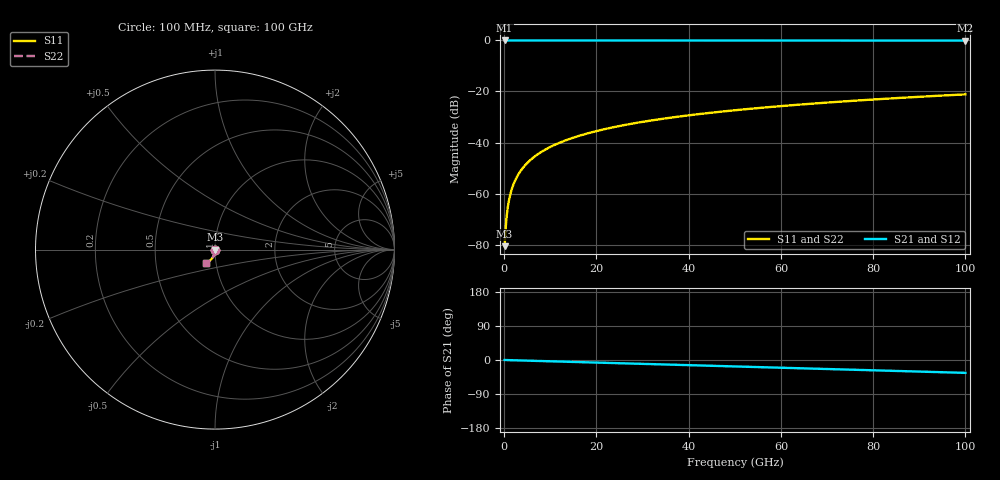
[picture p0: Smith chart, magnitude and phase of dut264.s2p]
! Touchstone file exported from HFSS 2026.1.0
!  File:  C:/ffzhzh/LocalFiles/Ansys_Project_Files/temp_train_TSV_264_1783508551_31944.aedt
!  Generated:  07:03:43 PM Jul  8, 2026
!  Design:  TSV
!  Project:  temp_train_TSV_264_1783508551_31944
! Variables:
!  h_bsmrdl = 2um
!  h_ox = 20um
!  h_rdl = 5um
!  h_sub = 66.33um
!  h_tmrdl = 5um
!  h_tsv = 66.33um
!  h_via = 3um
!  l_bsmrdl = 300um
!  l_sub = 425.4um
!  l_tmrdl = 200um
!  m_sub = 200um
!  pitch = 44.22um
!  r_tsv = 12.7um
!  s_tmrdl = 10um
!  w_bsmrdl = 18um
!  w_sub = 500um
!  w_tmrdl = 12um
!  x_tsv_center1 = 206um
!  x_tsv_center2 = 524um
!  x_tsv_center3 = 736um
!  x_tsv_center4 = 1054um
!  x_tsv_center5 = 1266um
!  x_tsv_center6 = 1584um
# GHz S MA R 50.000000
! Terminal data exported
! Port[1] = TSV1_1_T1
! Port[2] = TSV1_1_T2
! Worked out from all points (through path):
!   1000 points, 100 MHz to 100 GHz, reference 50 ohm
!   highest |S21| = 0.00 dB at 100 MHz (marker M1); lowest = -0.1 dB at 100 GHz (marker M2)
!   group delay of S21, straight-line fit = 942 fs
!   lowest |S11| = -80.6 dB at 100 MHz (marker M3), VSWR 1.00, Z = 50 - j0.00472 ohm
!   |S11| at or under -10 dB: start of sweep to end of sweep
!   |S22| runs from -80.6 to -21.1 dB; largest |S21 - S12| = 3.6e-15
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0.1  9.308e-05 -30.5  0.9999 -0.0  0.9999 -0.0  9.308e-05 -30.5
! Gamma 0 0 0 0
! Port Impedance 50 0 50 0
0.4  0.0002553 -59.6  0.9999 -0.1  0.9999 -0.1  0.0002553 -59.6
0.7  0.0004729 -67.8  0.9998 -0.2  0.9998 -0.2  0.0004729 -67.8
0.9  0.0006264 -71.1  0.9998 -0.3  0.9998 -0.3  0.0006264 -71.1
1.1  0.000782 -73.5  0.9998 -0.4  0.9998 -0.4  0.000782 -73.5
1.4  0.001017 -76.1  0.9997 -0.5  0.9997 -0.5  0.001017 -76.1
1.8  0.001334 -78.3  0.9997 -0.6  0.9997 -0.6  0.001334 -78.3
2.4  0.001815 -80.4  0.9997 -0.8  0.9997 -0.8  0.001815 -80.4
3.1  0.002385 -82.0  0.9996 -1.1  0.9996 -1.1  0.002385 -82.0
3.9  0.003046 -83.3  0.9996 -1.3  0.9996 -1.3  0.003046 -83.3
4.9  0.003879 -84.6  0.9995 -1.7  0.9995 -1.7  0.003879 -84.6
6  0.004801 -85.8  0.9995 -2.1  0.9995 -2.1  0.004801 -85.8
8.8  0.007165 -87.9  0.9993 -3.0  0.9993 -3.0  0.007165 -87.9
12.4  0.01022 -89.9  0.9992 -4.2  0.9992 -4.2  0.01022 -89.9
16.8  0.014 -92.0  0.999 -5.7  0.999 -5.7  0.014 -92.0
24.1  0.02029 -95.2  0.9987 -8.2  0.9987 -8.2  0.02029 -95.2
33.4  0.02836 -98.8  0.9983 -11.3  0.9983 -11.3  0.02836 -98.8
41.2  0.03515 -101.7  0.998 -14.0  0.998 -14.0  0.03515 -101.7
50.1  0.04297 -105.0  0.9975 -17.0  0.9975 -17.0  0.04297 -105.0
66.7  0.05771 -110.8  0.9965 -22.6  0.9965 -22.6  0.05771 -110.8
83.4  0.07275 -116.8  0.9952 -28.3  0.9952 -28.3  0.07275 -116.8
100  0.0878 -122.7  0.9936 -34.0  0.9936 -34.0  0.0878 -122.7
